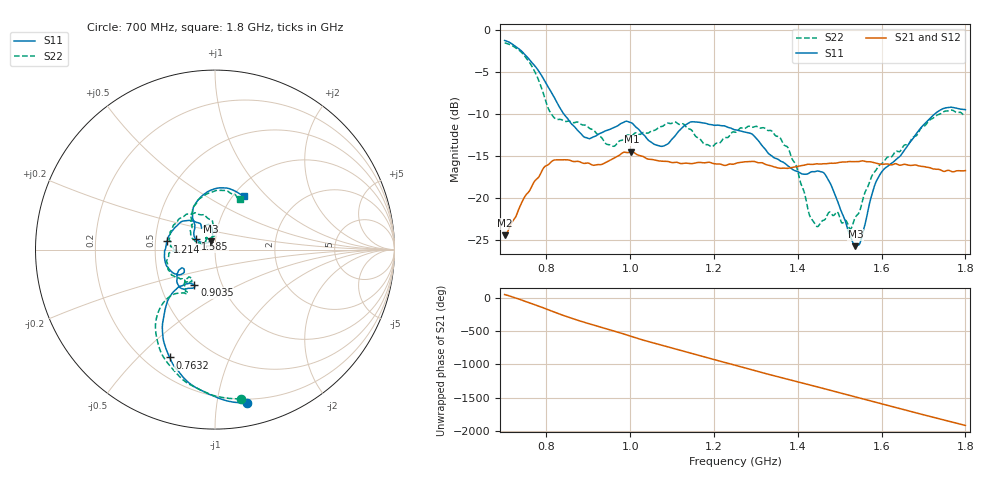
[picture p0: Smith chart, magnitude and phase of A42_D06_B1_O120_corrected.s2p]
! Created with skrf 1.9.0 (http://scikit-rf.org).
# Hz S RI R 50.0
!freq ReS11 ImS11 ReS21 ImS21 ReS12 ImS12 ReS22 ImS22
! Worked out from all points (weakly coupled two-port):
!   1601 points, 700 MHz to 1.8 GHz, reference 50 ohm
!   highest |S21| = -14.45 dB at 1.002 GHz (marker M1); lowest = -24.4 dB at 700 MHz (marker M2)
!   lowest |S11| = -25.7 dB at 1.537 GHz (marker M3), VSWR 1.11, Z = 47.6 + j4.44 ohm
!   |S11| at or under -10 dB: 842 MHz to 1.726 GHz (883.7 MHz wide, 68.8 % of centre)
!   |S22| runs from -23.7 to -1.5 dB; largest |S21 - S12| = 0.0035
!   S11 on the Smith chart (normalised r, x): 700 MHz: 0.17, -1.21; 763.2 MHz: 0.30, -0.62; 903.5 MHz: 0.74, -0.31; 1.214 GHz: 0.58, +0.06; 1.585 GHz: 0.80, +0.09; 1.8 GHz: 1.12, +0.75
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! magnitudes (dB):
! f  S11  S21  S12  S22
! 700 MHz  -1.2  -24.4  -24.2  -1.5
! 763.2 MHz  -3.7  -18.7  -18.7  -4.1
! 816.2 MHz  -7.8  -15.5  -15.6  -10.3
! 883.6 MHz  -12.4  -15.7  -15.6  -11.2
! 903.5 MHz  -12.9  -15.9  -15.8  -11.7
! 957.8 MHz  -11.6  -15.3  -15.3  -13.8
! 1.002 GHz  -11.0  -14.4  -14.6  -12.6
! 1.067 GHz  -13.7  -15.5  -15.5  -11.6
! 1.143 GHz  -10.9  -15.9  -15.9  -11.8
! 1.214 GHz  -11.3  -15.9  -15.9  -13.4
! 1.25 GHz  -11.8  -15.9  -15.8  -12.1
! 1.357 GHz  -15.5  -16.4  -16.4  -12.7
! 1.396 GHz  -16.7  -16.2  -16.2  -16.0
! 1.434 GHz  -16.8  -16.0  -15.9  -22.5
! 1.47 GHz  -17.6  -15.9  -15.8  -22.0
! 1.525 GHz  -24.5  -15.6  -15.6  -23.7
! 1.537 GHz  -25.7  -15.6  -15.6  -22.3
! 1.55 GHz  -25.0  -15.6  -15.6  -21.1
! 1.585 GHz  -18.3  -15.8  -15.8  -16.7
! 1.617 GHz  -16.1  -15.9  -15.9  -15.1
! 1.733 GHz  -9.7  -16.5  -16.6  -10.1
! 1.8 GHz  -9.4  -16.7  -16.7  -10.1
